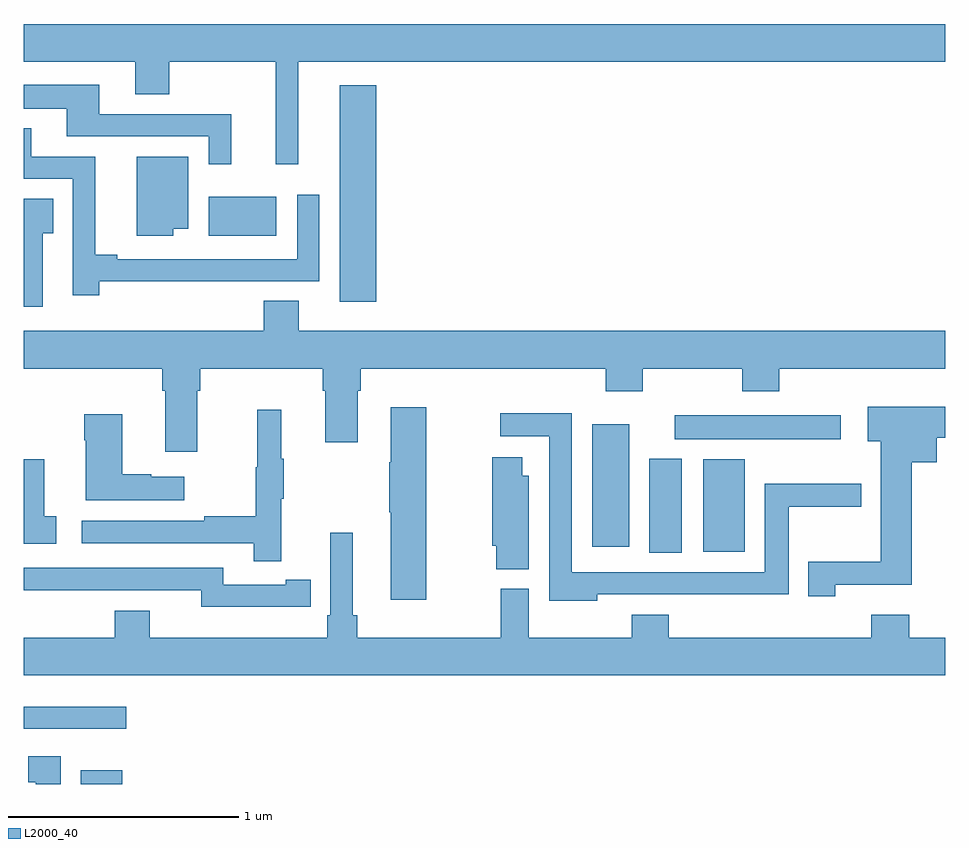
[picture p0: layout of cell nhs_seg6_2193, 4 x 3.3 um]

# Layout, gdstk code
import gdstk
lib = gdstk.Library(unit=1e-6, precision=1e-09)
def R(c, l, rs):  # rectangles x0, y0, x1, y1
    for r in rs: c.add(gdstk.rectangle(r[:2], r[2:], *l))
def P(c, l, *ps):  # polygons
    for p in ps: c.add(gdstk.Polygon(p, *l))
L2000_40 = (2000, 40)

nhs_seg6_2193 = lib.new_cell('nhs_seg6_2193')
R(nhs_seg6_2193, L2000_40, [(241.247,977.5,241.426,977.56), (241,977.739,241.444,977.836), (243.716,978.505,243.856,978.913), (243.95,978.509,244.129,978.91), (243.467,978.531,243.628,979.063), (243.825,978.998,244.546,979.102), (242.372,979.593,242.531,980.533), (241.802,979.88,242.095,980.05)])
P(nhs_seg6_2193, L2000_40, [(242.192,980.636),(245,980.636),(245,980.8),(241,980.8),(241,980.636),(241.484,980.636),(241.484,980.494),(241.632,980.494),(241.632,980.636),(242.093,980.636),(242.093,980.19),(242.192,980.19)],
  [(241.901,980.409),(241.327,980.409),(241.327,980.536),(241,980.536),(241,980.432),(241.187,980.432),(241.187,980.313),(241.803,980.313),(241.803,980.19),(241.901,980.19)],
  [(241.328,979.682),(241.958,979.682),(241.958,979.683),(242.283,979.683),(242.283,980.059),(242.187,980.059),(242.187,979.779),(241.405,979.779),(241.405,979.799),(241.31,979.799),(241.31,980.223),(241.033,980.223),(241.033,980.347),(241,980.347),(241,980.127),(241.212,980.127),(241.212,979.623),(241.328,979.623)],
  [(241.648,979.91),(241.714,979.91),(241.714,980.224),(241.49,980.224),(241.49,979.88),(241.648,979.88)],
  [(241.081,979.891),(241.127,979.891),(241.127,980.042),(241,980.042),(241,979.572),(241.081,979.572)],
  [(241.753,979.208),(241.766,979.208),(241.766,979.304),(242.297,979.304),(242.297,979.208),(242.309,979.208),(242.309,978.984),(242.449,978.984),(242.449,979.208),(242.462,979.208),(242.462,979.304),(243.527,979.304),(243.527,979.205),(243.687,979.205),(243.687,979.304),(244.12,979.304),(244.12,979.205),(244.28,979.205),(244.28,979.304),(245,979.304),(245,979.468),(242.194,979.468),(242.194,979.598),(242.042,979.598),(242.042,979.468),(241,979.468),(241,979.304),(241.601,979.304),(241.601,979.208),(241.613,979.208),(241.613,978.942),(241.753,978.942)],
  [(244.524,978.365),(244.856,978.365),(244.856,978.896),(244.963,978.896),(244.963,979.004),(245,979.004),(245,979.138),(244.665,979.138),(244.665,978.989),(244.721,978.989),(244.721,978.465),(244.406,978.465),(244.406,978.315),(244.524,978.315)],
  [(242.748,979.135),(242.594,979.135),(242.594,978.896),(242.587,978.896),(242.587,978.679),(242.594,978.679),(242.594,978.3),(242.748,978.3)],
  [(242.117,978.739),(242.128,978.739),(242.128,978.913),(242.117,978.913),(242.117,979.126),(242.014,979.126),(242.014,978.876),(242.007,978.876),(242.007,978.662),(241.783,978.662),(241.783,978.642),(241.251,978.642),(241.251,978.546),(241.999,978.546),(241.999,978.468),(242.117,978.468)],
  [(243.489,978.324),(243.883,978.324),(243.883,978.323),(244.321,978.323),(244.321,978.703),(244.636,978.703),(244.636,978.803),(244.217,978.803),(244.217,978.42),(243.378,978.42),(243.378,979.109),(243.069,979.109),(243.069,979.01),(243.282,979.01),(243.282,978.296),(243.489,978.296)],
  [(241.696,978.835),(241.553,978.835),(241.553,978.845),(241.426,978.845),(241.426,979.105),(241.261,979.105),(241.261,978.992),(241.268,978.992),(241.268,978.731),(241.696,978.731)],
  [(243.193,978.838),(243.163,978.838),(243.163,978.919),(243.034,978.919),(243.034,978.534),(243.052,978.534),(243.052,978.433),(243.193,978.433)],
  [(241.141,978.663),(241.088,978.663),(241.088,978.91),(241,978.91),(241,978.543),(241.141,978.543)],
  [(245,978.136),(244.844,978.136),(244.844,978.235),(244.679,978.235),(244.679,978.136),(243.8,978.136),(243.8,978.235),(243.64,978.235),(243.64,978.136),(243.193,978.136),(243.193,978.348),(243.07,978.348),(243.07,978.136),(242.447,978.136),(242.447,978.232),(242.428,978.232),(242.428,978.592),(242.331,978.592),(242.331,978.232),(242.318,978.232),(242.318,978.136),(241.546,978.136),(241.546,978.253),(241.394,978.253),(241.394,978.136),(241,978.136),(241,977.972),(245,977.972)],
  [(242.138,978.27),(242.246,978.27),(242.246,978.386),(242.138,978.386),(242.138,978.366),(241.866,978.366),(241.866,978.438),(241,978.438),(241,978.341),(241.31,978.341),(241.31,978.342),(241.77,978.342),(241.77,978.269),(242.138,978.269)],
  [(241.159,977.62),(241.019,977.62),(241.019,977.507),(241.052,977.507),(241.052,977.5),(241.159,977.5)])

lib.write_gds('nhs_seg6_2193.gds')
